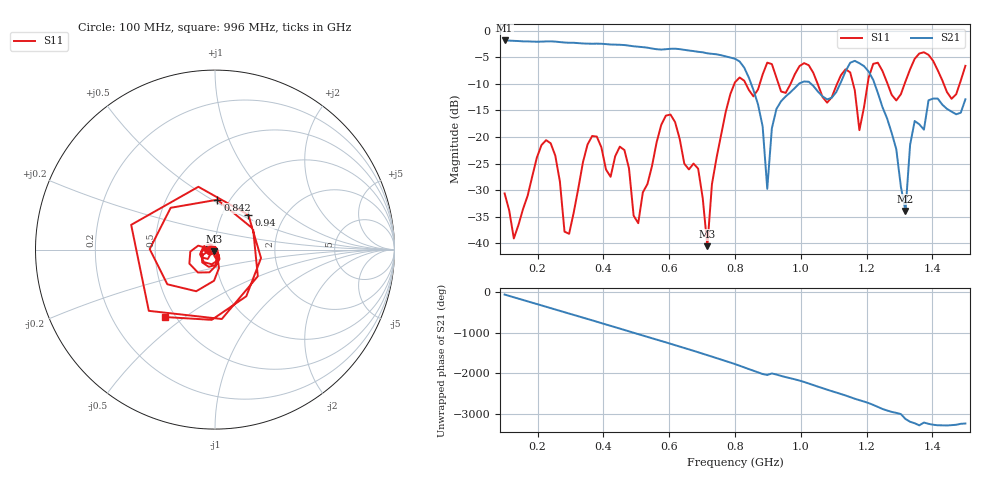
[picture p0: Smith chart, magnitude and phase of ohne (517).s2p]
! NanoVNA-App
! Date: 2025-09-25 14:24:49
! Start: 100MHz Stop: 1,5GHz Points: 101
! S-Parameter data: F S11 S21 S12 S22
# Hz S RI R 50
!  Frequency  S11_Real  S11_Imag  S21_Real  S21_Imag  S12_Real  S12_Imag  S22_Real  S22_Imag
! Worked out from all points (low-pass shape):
!   101 points, 100 MHz to 1.5 GHz, reference 50 ohm
!   highest |S21| = -1.79 dB at 100 MHz (marker M1); lowest = -34.0 dB at 1.318 GHz (marker M2)
!   |S21| within 3 dB of the highest: start of sweep to 771.5 MHz
!   lowest |S11| = -40.6 dB at 716 MHz (marker M3), VSWR 1.02, Z = 49.7 - j0.886 ohm
!   |S11| at or under -10 dB: start of sweep to 797.9 MHz; 833 MHz to 875.1 MHz (42.09 MHz wide, 4.93 % of centre); 1.051 GHz to 1.11 GHz (58.75 MHz wide, 5.44 % of centre) (the widest 3 of 7)
!   S12 and S22 are empty: the file has one direction only
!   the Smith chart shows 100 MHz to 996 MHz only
!   S11 on the Smith chart (normalised r, x): 100 MHz: 0.94, -0.01; 842 MHz: 0.88, +0.53; 940 MHz: 1.32, +0.55; 996 MHz: 0.44, -0.42
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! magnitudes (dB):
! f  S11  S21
! 100 MHz  -30.6  -1.8
! 128 MHz  -39.1  -1.9
! 226 MHz  -20.6  -2.0
! 296 MHz  -38.3  -2.2
! 338 MHz  -24.8  -2.4
! 464 MHz  -22.5  -2.7
! 506 MHz  -36.3  -3.0
! 576 MHz  -17.7  -3.5
! 688 MHz  -26.0  -3.9
! 716 MHz  -40.6  -4.2
! 800 MHz  -9.7  -5.2
! 842 MHz  -11.1  -8.8
! 898 MHz  -6.0  -29.8
! 940 MHz  -11.4  -13.3
! 996 MHz  -6.6  -9.9
! 1.038 GHz  -7.9  -10.4
! 1.178 GHz  -18.7  -6.1
! 1.22 GHz  -6.2  -9.2
! 1.276 GHz  -12.0  -19.2
! 1.318 GHz  -9.5  -34.0
! 1.346 GHz  -5.2  -17.0
! 1.5 GHz  -6.6  -12.9
